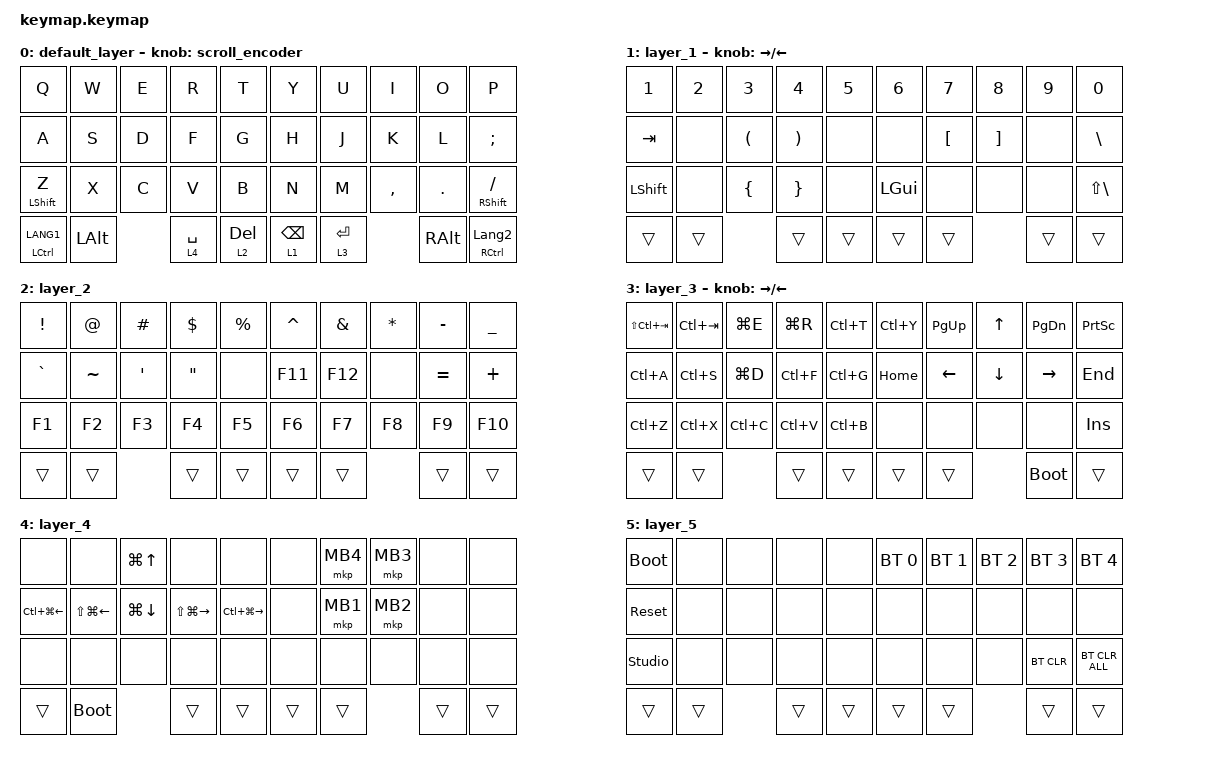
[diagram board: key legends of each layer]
/*
 * tecla-cero keymap
 *
 * 38-key split keyboard (left 19 + right 19)
 * 3 layers + rotary encoder
 *
 * ZMK Studio enabled for live editing
 */

#define ZMK_POINTING_DEFAULT_SCRL_VAL 200

#include <behaviors.dtsi>
#include <dt-bindings/zmk/bt.h>
#include <dt-bindings/zmk/keys.h>
#include <dt-bindings/zmk/pointing.h>

/ {
    behaviors {
        scroll_encoder: scroll_encoder {
            compatible = "zmk,behavior-sensor-rotate";
            #sensor-binding-cells = <0>;
            bindings = <&msc SCRL_DOWN>, <&msc SCRL_UP>;

            tap-ms = <60>;
        };
    };

    combos {
        compatible = "zmk,combos";

        bt_clear {
            bindings = <&bt BT_CLR>;
            key-positions = <28 29>;
            layers = <2>;
        };

        tab {
            bindings = <&kp TAB>;
            key-positions = <11 12>;
        };

        esc {
            bindings = <&kp ESCAPE>;
            key-positions = <0 1>;
        };

        left-click {
            bindings = <&mkp MB1>;
            key-positions = <16 17>;
        };

        right-click {
            bindings = <&mkp MB2>;
            key-positions = <17 18>;
        };

        gui {
            bindings = <&kp LEFT_GUI>;
            key-positions = <37 36>;
        };

        lt_5 {
            bindings = <&lt 5 ESCAPE>;
            key-positions = <33 34>;
        };
    };

    keymap {
        compatible = "zmk,keymap";

        /*
         * Layer 0: Default (QWERTY)
         *
         * ┌───┬───┬───┬───┬───┐   ┌───┬───┬───┬───┬───┐
         * │ Q │ W │ E │ R │ T │   │ Y │ U │ I │ O │ P │
         * ├───┼───┼───┼───┼───┤   ├───┼───┼───┼───┼───┤
         * │ A │ S │ D │ F │ G │   │ H │ J │ K │ L │ ; │
         * ├───┼───┼───┼───┼───┤   ├───┼───┼───┼───┼───┤
         * │ Z │ X │ C │ V │ B │   │ N │ M │ , │ . │BSP│
         * ├───┼───┼───┼───┼───┤   ├───┼───┼───┼───┼───┤
         * │CTL│SFT│   │LWR│SPC│   │ENT│RSE│   │ALT│CTL│
         * └───┴───┴───┴───┴───┘   └───┴───┴───┴───┴───┘
         */

        default_layer {
            bindings = <
&kp Q             &kp W         &kp E  &kp R        &kp T      &kp Y            &kp U        &kp I      &kp O     &kp P
&kp A             &kp S         &kp D  &kp F        &kp G      &kp H            &kp J        &kp K      &kp L     &kp SEMI
&mt LEFT_SHIFT Z  &kp X         &kp C  &kp V        &kp B      &kp N            &kp M        &kp COMMA  &kp DOT   &mt RIGHT_SHIFT SLASH
&mt LCTRL LANG1   &kp LEFT_ALT         &lt 4 SPACE  &lt 2 DEL  &lt 1 BACKSPACE  &lt 3 ENTER             &kp RALT  &mt RCTRL LANGUAGE_2
            >;

            sensor-bindings = <&scroll_encoder>;
        };

        /*
         * Layer 1: Lower (Numbers / Navigation)
         *
         * ┌───┬───┬───┬───┬───┐   ┌───┬───┬───┬───┬───┐
         * │ 1 │ 2 │ 3 │ 4 │ 5 │   │ 6 │ 7 │ 8 │ 9 │ 0 │
         * ├───┼───┼───┼───┼───┤   ├───┼───┼───┼───┼───┤
         * │TAB│   │   │ESC│   │   │ ← │ ↓ │ ↑ │ → │BSP│
         * ├───┼───┼───┼───┼───┤   ├───┼───┼───┼───┼───┤
         * │SFT│   │   │   │   │   │HOM│PGD│PGU│END│DEL│
         * ├───┼───┼───┼───┼───┤   ├───┼───┼───┼───┼───┤
         * │   │   │   │▓▓▓│   │   │   │   │   │   │   │
         * └───┴───┴───┴───┴───┘   └───┴───┴───┴───┴───┘
         */

        layer_1 {
            bindings = <
&kp N1     &kp N2  &kp N3                &kp N4                 &kp N5  &kp N6        &kp N7            &kp N8             &kp N9  &kp N0
&kp TAB    &none   &kp LEFT_PARENTHESIS  &kp RIGHT_PARENTHESIS  &none   &none         &kp LEFT_BRACKET  &kp RIGHT_BRACKET  &none   &kp BACKSLASH
&kp LSHFT  &none   &kp LEFT_BRACE        &kp RIGHT_BRACE        &none   &kp LEFT_GUI  &none             &none              &none   &kp LS(BACKSLASH)
&trans     &trans                        &trans                 &trans  &trans        &trans                               &trans  &trans
            >;

            sensor-bindings = <&inc_dec_kp RIGHT LEFT_ARROW>;
        };

        /*
         * Layer 2: Raise (Symbols / Function / Bluetooth)
         *
         * ┌───┬───┬───┬───┬───┐   ┌───┬───┬───┬───┬───┐
         * │ ! │ @ │ # │ $ │ % │   │ ^ │ & │ * │ ( │ ) │
         * ├───┼───┼───┼───┼───┤   ├───┼───┼───┼───┼───┤
         * │F1 │F2 │F3 │F4 │F5 │   │ - │ = │ [ │ ] │ \ │
         * ├───┼───┼───┼───┼───┤   ├───┼───┼───┼───┼───┤
         * │F6 │F7 │F8 │F9 │F10│   │ _ │ + │ { │ } │ | │
         * ├───┼───┼───┼───┼───┤   ├───┼───┼───┼───┼───┤
         * │BT1│BT2│   │BT3│   │   │   │▓▓▓│   │F11│F12│
         * └───┴───┴───┴───┴───┘   └───┴───┴───┴───┴───┘
         */

        layer_2 {
            bindings = <
&kp EXCL   &kp AT     &kp HASH  &kp DLLR           &kp PRCNT  &kp CARET  &kp AMPS  &kp ASTRK  &kp MINUS  &kp UNDERSCORE
&kp GRAVE  &kp TILDE  &kp SQT   &kp DOUBLE_QUOTES  &none      &kp F11    &kp F12   &none      &kp EQUAL  &kp PLUS
&kp F1     &kp F2     &kp F3    &kp F4             &kp F5     &kp F6     &kp F7    &kp F8     &kp F9     &kp F10
&trans     &trans               &trans             &trans     &trans     &trans               &trans     &trans
            >;
        };

        layer_3 {
            bindings = <
&kp LS(LC(TAB))  &kp LC(TAB)  &kp LG(E)  &kp LG(R)  &kp LC(T)  &kp LC(Y)  &kp PAGE_UP     &kp UP_ARROW    &kp PAGE_DOWN    &kp PRINTSCREEN
&kp LC(A)        &kp LC(S)    &kp LG(D)  &kp LC(F)  &kp LC(G)  &kp HOME   &kp LEFT_ARROW  &kp DOWN_ARROW  &kp RIGHT_ARROW  &kp END
&kp LC(Z)        &kp LC(X)    &kp LC(C)  &kp LC(V)  &kp LC(B)  &none      &none           &none           &none            &kp INSERT
&trans           &trans                  &trans     &trans     &trans     &trans                          &bootloader      &trans
            >;

            sensor-bindings = <&inc_dec_kp RIGHT_ARROW LEFT_ARROW>;
        };

        layer_4 {
            bindings = <
&none                   &none                   &kp LG(UP_ARROW)    &none                    &none                    &none   &mkp MB4  &mkp MB3  &none   &none
&kp LC(LG(LEFT_ARROW))  &kp LS(LG(LEFT_ARROW))  &kp LG(DOWN_ARROW)  &kp LS(LG(RIGHT_ARROW))  &kp LC(LG(RIGHT_ARROW))  &none   &mkp MB1  &mkp MB2  &none   &none
&none                   &none                   &none               &none                    &none                    &none   &none     &none     &none   &none
&trans                  &bootloader                                 &trans                   &trans                   &trans  &trans              &trans  &trans
            >;
        };

        layer_5 {
            bindings = <
&bootloader     &none   &none  &none   &none   &bt BT_SEL 0  &bt BT_SEL 1  &bt BT_SEL 2  &bt BT_SEL 3  &bt BT_SEL 4
&sys_reset      &none   &none  &none   &none   &none         &none         &none         &none         &none
&studio_unlock  &none   &none  &none   &none   &none         &none         &none         &bt BT_CLR    &bt BT_CLR_ALL
&trans          &trans         &trans  &trans  &trans        &trans                      &trans        &trans
            >;
        };
    };
};
